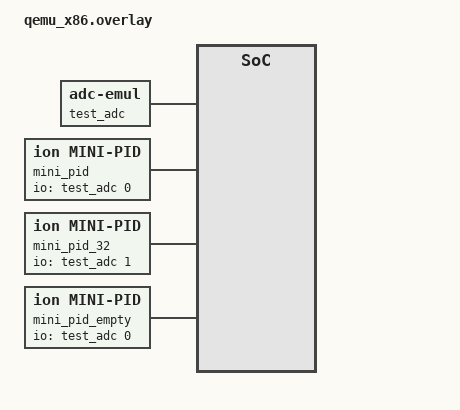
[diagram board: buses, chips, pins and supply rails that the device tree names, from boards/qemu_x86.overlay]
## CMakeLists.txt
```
# Copyright (c) 2026 FoBE Studio
# SPDX-License-Identifier: Apache-2.0

cmake_minimum_required(VERSION 3.20.0)

find_package(Zephyr REQUIRED HINTS $ENV{ZEPHYR_BASE})
project(mini_pid_test)

target_sources(app PRIVATE src/main.c)
```

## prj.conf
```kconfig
CONFIG_ZTEST=y
CONFIG_ASSERT=y

CONFIG_LOG=y
CONFIG_LOG_MODE_MINIMAL=y

CONFIG_ADC=y
CONFIG_ADC_EMUL=y
CONFIG_SENSOR=y
CONFIG_MINI_PID=y
```

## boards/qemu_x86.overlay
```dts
/*
 * Copyright (c) 2026 FoBE Studio
 *
 * SPDX-License-Identifier: Apache-2.0
 */

#include <zephyr/dt-bindings/adc/adc.h>

/ {
	test_adc: adc {
		compatible = "zephyr,adc-emul";
		nchannels = <2>;
		ref-internal-mv = <3300>;
		#io-channel-cells = <1>;
		status = "okay";

		#address-cells = <1>;
		#size-cells = <0>;

		channel@0 {
			reg = <0>;
			zephyr,gain = "ADC_GAIN_1";
			zephyr,reference = "ADC_REF_INTERNAL";
			zephyr,vref-mv = <3300>;
			zephyr,acquisition-time = <ADC_ACQ_TIME_DEFAULT>;
			zephyr,resolution = <12>;
		};

		channel@1 {
			reg = <1>;
			zephyr,gain = "ADC_GAIN_1";
			zephyr,reference = "ADC_REF_INTERNAL";
			zephyr,vref-mv = <3300>;
			zephyr,acquisition-time = <ADC_ACQ_TIME_DEFAULT>;
			zephyr,resolution = <16>;
		};
	};

	mini_pid: mini_pid {
		compatible = "ion,mini-pid";
		io-channels = <&test_adc 0>;
		baseline = <100000>;
		sensitivity = <1000>;
		averaging-samples = <1>;
	};

	mini_pid_32: mini_pid_32 {
		compatible = "ion,mini-pid";
		io-channels = <&test_adc 1>;
		baseline = <100000>;
		sensitivity = <1000>;
		averaging-samples = <1>;
	};

	mini_pid_empty: mini_pid_empty {
		compatible = "ion,mini-pid";
		io-channels = <&test_adc 0>;
		baseline = <100000>;
		sensitivity = <1000>;
		averaging-samples = <1>;
	};
};
```

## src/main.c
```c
/*
 * Copyright (c) 2026 FoBE Studio
 *
 * SPDX-License-Identifier: Apache-2.0
 */

#include <zephyr/device.h>
#include <zephyr/drivers/adc/adc_emul.h>
#include <zephyr/drivers/sensor.h>
#include <drivers/sensor/mini_pid.h>
#include <zephyr/ztest.h>

#define ADC_NODE DT_NODELABEL(test_adc)
#define MINI_PID_NODE DT_NODELABEL(mini_pid)
#define MINI_PID_32_NODE DT_NODELABEL(mini_pid_32)
#define MINI_PID_EMPTY_NODE DT_NODELABEL(mini_pid_empty)

static const struct device *const adc_dev = DEVICE_DT_GET(ADC_NODE);
static const struct device *const mini_pid_dev = DEVICE_DT_GET(MINI_PID_NODE);
static const struct device *const mini_pid_32_dev = DEVICE_DT_GET(MINI_PID_32_NODE);
static const struct device *const mini_pid_empty_dev = DEVICE_DT_GET(MINI_PID_EMPTY_NODE);

static void *mini_pid_setup(void)
{
	zassert_true(device_is_ready(adc_dev));
	zassert_true(device_is_ready(mini_pid_dev));
	zassert_true(device_is_ready(mini_pid_32_dev));
	zassert_true(device_is_ready(mini_pid_empty_dev));

	return NULL;
}

static void mini_pid_before(void *fixture)
{
	struct sensor_value baseline = {.val1 = 100000, .val2 = 0};
	struct sensor_value sensitivity = {.val1 = 1000, .val2 = 0};

	ARG_UNUSED(fixture);

	zassert_ok(sensor_attr_set(mini_pid_dev, SENSOR_CHAN_VOC,
				   SENSOR_ATTR_MINI_PID_BASELINE, &baseline));
	zassert_ok(sensor_attr_set(mini_pid_dev, SENSOR_CHAN_VOC,
				   SENSOR_ATTR_MINI_PID_SENSITIVITY, &sensitivity));
	zassert_ok(sensor_attr_set(mini_pid_32_dev, SENSOR_CHAN_VOC,
				   SENSOR_ATTR_MINI_PID_BASELINE, &baseline));
	zassert_ok(sensor_attr_set(mini_pid_32_dev, SENSOR_CHAN_VOC,
				   SENSOR_ATTR_MINI_PID_SENSITIVITY, &sensitivity));
}

ZTEST(mini_pid, test_channel_get_before_fetch_returns_eagain)
{
	struct sensor_value val;

	zassert_equal(sensor_channel_get(mini_pid_empty_dev, SENSOR_CHAN_VOC, &val), -EAGAIN);
}

ZTEST(mini_pid, test_voc_reports_ppm_sensor_value)
{
	struct sensor_value val;
	int64_t voc_micro;
	int64_t voltage_micro;

	zassert_ok(adc_emul_const_value_set(adc_dev, 0, 200));
	zassert_ok(sensor_sample_fetch(mini_pid_dev));
	zassert_ok(sensor_channel_get(mini_pid_dev, SENSOR_CHAN_VOC, &val));
	voc_micro = sensor_value_to_micro(&val);
	zassert_within(voc_micro, 100000000, 1000000);

	zassert_ok(sensor_channel_get(mini_pid_dev, SENSOR_CHAN_VOLTAGE, &val));
	voltage_micro = sensor_value_to_micro(&val);
	zassert_within(voltage_micro, 200000, 1000);
}

ZTEST(mini_pid, test_attr_validation)
{
	struct sensor_value invalid_fraction = {.val1 = 1000, .val2 = 1};
	struct sensor_value invalid_sensitivity = {.val1 = 0, .val2 = 0};
	struct sensor_value baseline = {.val1 = 50000, .val2 = 0};

	zassert_equal(sensor_attr_set(mini_pid_dev, SENSOR_CHAN_VOC,
				      SENSOR_ATTR_MINI_PID_BASELINE, NULL),
		      -EINVAL);
	zassert_equal(sensor_attr_set(mini_pid_dev, SENSOR_CHAN_VOC,
				      SENSOR_ATTR_MINI_PID_BASELINE, &invalid_fraction),
		      -EINVAL);
	zassert_equal(sensor_attr_set(mini_pid_dev, SENSOR_CHAN_VOC,
				      SENSOR_ATTR_MINI_PID_SENSITIVITY,
				      &invalid_sensitivity),
		      -EINVAL);
	zassert_ok(sensor_attr_set(mini_pid_dev, SENSOR_CHAN_VOC,
				   SENSOR_ATTR_MINI_PID_BASELINE, &baseline));
}

ZTEST(mini_pid, test_adc_16_bit_resolution_path)
{
	struct sensor_value val;
	int64_t voltage_micro;

	zassert_ok(adc_emul_const_value_set(adc_dev, 1, 250));
	zassert_ok(sensor_sample_fetch(mini_pid_32_dev));
	zassert_ok(sensor_channel_get(mini_pid_32_dev, SENSOR_CHAN_VOLTAGE, &val));
	voltage_micro = sensor_value_to_micro(&val);
	zassert_within(voltage_micro, 250000, 1000);
}

ZTEST_SUITE(mini_pid, NULL, mini_pid_setup, mini_pid_before, NULL, NULL);
```
